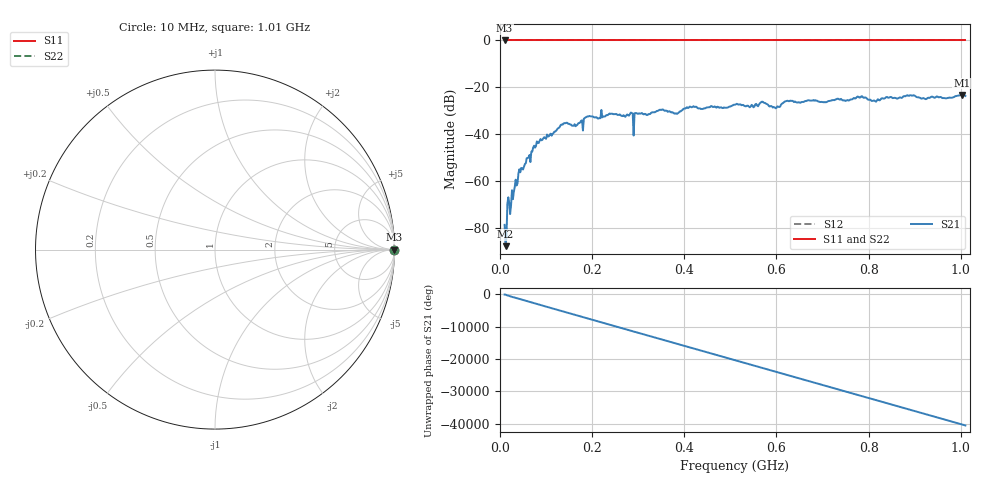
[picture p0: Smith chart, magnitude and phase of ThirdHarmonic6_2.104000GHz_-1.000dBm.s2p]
! 8/17/2025 1:10:19 AM
! C:\ANRITSUVNA\TEMP\TEMP.S2P
! CHANNEL.1
! TR.MEASUREMENT
! RAW.DATA
! RF.CORRECTION.OFF
! AVERAGING.OFF
! IF.BANDWIDTH: 5KHZ
! SWEEPTYPE:  FREQ.SWEEP(Linear)
! Reference Plane Port Info
! PORT:  PORT1  PORT2
! DISTANCE:  0  m  0  m
! TIME:  0  s  0  s
! PHASE.OFFSET:  0  deg.  0  deg.
! LOSS:  0  dB  0  dB
! REF.LOSS:  0  dB  0  dB
! REF.FREQ:  0  Hz  0  Hz
! Power Info
! POWER:  -20  dBm  -20  dBm
! EFF.POWER:  -20  dBm  -20  dBm
! SOURCE.ATTEN:  0  dB  0  dB
! TEST.ATTEN:  0  dB  0  dB
# GHZ S RI R 50.0
! FREQ.GHZ  S11RE  S11IM  S21RE  S21IM  S12RE  S12IM  S22RE  S22IM
!; PortSelection: Port_12
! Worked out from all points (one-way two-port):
!   501 points, 10 MHz to 1.01 GHz, reference 50 ohm
!   highest |S21| = -23.22 dB at 1.002 GHz (marker M1); lowest = -87.7 dB at 12 MHz (marker M2)
!   lowest |S11| = 0.0 dB at 10 MHz (marker M3)
!   |S11| at or under -10 dB: nowhere
!   |S22| runs from 0.0 to 0.0 dB; largest |S21 - S12| = 1.1
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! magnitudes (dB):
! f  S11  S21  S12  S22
! 10 MHz  0.0  -78.6  0.0  0.0
! 12 MHz  0.0  -87.7  0.0  0.0
! 20 MHz  0.0  -69.2  0.0  0.0
! 26 MHz  0.0  -63.9  0.0  0.0
! 44 MHz  0.0  -56.2  0.0  0.0
! 76 MHz  0.0  -45.7  0.0  0.0
! 136 MHz  0.0  -35.9  0.0  0.0
! 178 MHz  0.0  -34.1  0.0  0.0
! 192 MHz  0.0  -32.4  0.0  0.0
! 294 MHz  0.0  -31.0  0.0  0.0
! 296 MHz  0.0  -31.0  0.0  0.0
! 344 MHz  0.0  -29.9  0.0  0.0
! 382 MHz  0.0  -31.1  0.0  0.0
! 416 MHz  0.0  -28.5  0.0  0.0
! 510 MHz  0.0  -27.4  0.0  0.0
! 570 MHz  0.0  -26.1  0.0  0.0
! 596 MHz  0.0  -28.5  0.0  0.0
! 622 MHz  0.0  -25.8  0.0  0.0
! 678 MHz  0.0  -25.6  0.0  0.0
! 844 MHz  0.0  -24.4  0.0  0.0
! 1.002 GHz  0.0  -23.2  0.0  0.0
! 1.01 GHz  0.0  -23.6  0.0  0.0
